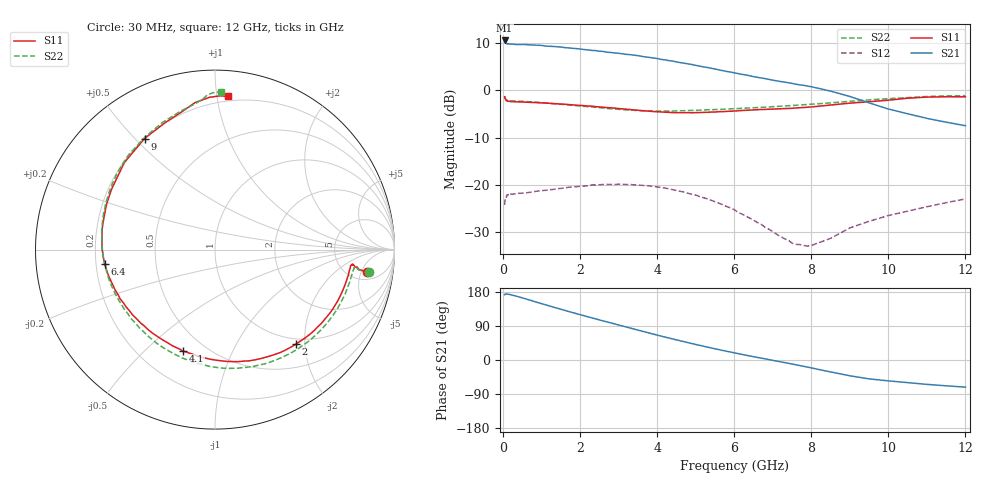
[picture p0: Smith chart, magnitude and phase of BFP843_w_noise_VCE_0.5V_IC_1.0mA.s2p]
! Infineon Technologies  Discrete & RF Semiconductors
! BFP843
! VCE =  0.5 V,  IC =  1.0 mA
! Common Emitter S-Parameters:  Aug 2013
# GHz  S  MA  R  50
!  f  S11  S21  S12  S22
! GHz  MAG  ANG  MAG  ANG  MAG  ANG  MAG  ANG
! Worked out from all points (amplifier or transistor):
!   103 points, 30 MHz to 12 GHz, reference 50 ohm
!   highest |S21| = 10.6 dB at 30 MHz (marker M1)
!   |S21| within 3 dB of that: start of sweep to 3.272 GHz
!   unconditionally stable (mu >= 1): 87.2 MHz to 934.1 MHz; 3.452 GHz to end of sweep
!   at 400 MHz: K = 1.03, MAG = 14.7 dB, |S12| = -21.8 dB
!   at 3.7 GHz: K = 1.04, MAG = 12.5 dB, |S12| = -20.2 dB
!   at 12 GHz: K = 1.22, MAG = 4.9 dB, |S12| = -23.0 dB
!   lowest NFmin = 1.52 dB at 450 MHz
!   S11 on the Smith chart (normalised r, x): 30 MHz: 6.99, -6.44; 2 GHz: 0.90, -1.82; 4.1 GHz: 0.38, -0.66; 6.4 GHz: 0.24, -0.06; 9 GHz: 0.20, +0.53; 12 GHz: 0.17, +1.07
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0.03  0.8571 -8.2  3.382 172.5  0.0614 40.5  0.868 -8.2
0.07  0.7848 -7.1  3.139 173.9  0.0741 18.8  0.7991 -7.5
0.13  0.7689 -6.2  3.116 173.8  0.0775 10.4  0.7794 -7.8
0.6  0.7502 -15.4  3.054 160.6  0.0824 2.9  0.761 -22.5
1  0.7375 -24.8  2.993 148.4  0.0868 0.7  0.7412 -36.9
1.3  0.7247 -32.1  2.921 139.4  0.0895 -1.7  0.7238 -47.6
2  0.6931 -49.5  2.745 119.3  0.0968 -8.4  0.6839 -72.4
2.1  0.6887 -52.1  2.708 116.6  0.0971 -9.6  0.6774 -75.9
2.6  0.6625 -65.0  2.586 102.9  0.1008 -16.6  0.6509 -93.0
3  0.6414 -75.6  2.472 92.2  0.1018 -22.7  0.6307 -106.9
3.5  0.616 -89.5  2.331 78.7  0.0998 -30.7  0.612 -124.1
4.1  0.5919 -107.4  2.13 63.0  0.0936 -40.9  0.6028 -143.7
4.9  0.5799 -132.5  1.88 43.3  0.0795 -53.3  0.6139 -165.5
5.5  0.5907 -150.2  1.687 29.5  0.0661 -61.1  0.627 -179.6
6.1  0.609 -165.2  1.507 16.8  0.0511 -66.0  0.6433 167.9
6.4  0.6187 -172.6  1.429 10.7  0.0443 -66.5  0.6527 162.0
7.6  0.6515 159.1  1.163 -12.6  0.0234 -43.9  0.6959 139.7
8.5  0.7001 136.2  0.983 -31.6  0.0271 -7.7  0.7378 122.1
9  0.733 122.4  0.862 -41.7  0.035 -0.8  0.7663 112.4
9.5  0.7593 111.6  0.738 -49.8  0.0411 0.7  0.7937 104.2
10.5  0.8273 97.6  0.566 -59.7  0.0526 -1.8  0.8388 94.9
12  0.8564 85.2  0.423 -71.6  0.0709 -9.7  0.8796 87.8
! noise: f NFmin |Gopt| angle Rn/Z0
0.45  1.52  0.46  10  0.26
0.9  1.58  0.47  20  0.28
1.5  1.7  0.47  32  0.31
1.9  1.8  0.47  40  0.39
2.4  1.95  0.45  51  0.48
3.5  2.01  0.41  76  0.69
5.5  2.21  0.34  145  0.83
10  4.25  0.67  -90  0.89
